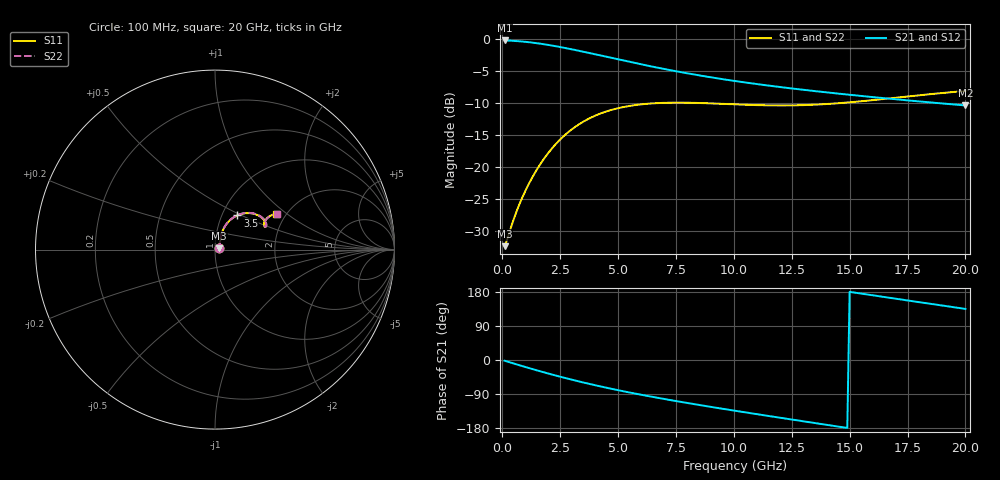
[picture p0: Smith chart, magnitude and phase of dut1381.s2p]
! Touchstone file exported from HFSS 2024.1.0
!  File:  C:/UserFiles/LocalFiles/RDL_TSV_Batchsim/temp_RDL_TSV_1381_1780401419.aedt
!  Generated:  08:10:53 PM Jun  2, 2026
!  Design:  RDL_TSV
!  Project:  temp_RDL_TSV_1381_1780401419
!  Setup:  Setup1
!  Solution:  Sweep
! Variables:
!  dtsv = 7.16um
!  hbump = 3um
!  htsv = 94.46um
!  ldown = 444.02um
!  lrdl = 423.06um
!  p = 40
!  p1 = 49.27um
!  rhole = 10um
!  subl = 3024.3um
!  t = 450um
!  tdown = 2.63um
!  trdl = 3.46um
!  viad = 10um
!  wdown = 18.64um
!  wrdl = 13.4um
!  xbump = 18um
# GHz S MA R 50.000000
! Terminal data exported
! Port[1] = TM1_1_T1
! Port[2] = TM1_4_T1
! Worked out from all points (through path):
!   200 points, 100 MHz to 20 GHz, reference 50 ohm
!   highest |S21| = -0.21 dB at 100 MHz (marker M1); lowest = -10.3 dB at 20 GHz (marker M2)
!   group delay of S21, straight-line fit = 29.5 ps
!   lowest |S11| = -32.3 dB at 100 MHz (marker M3), VSWR 1.05, Z = 52.4 + j0.666 ohm
!   |S11| at or under -10 dB: start of sweep to 6.59 GHz; 8.845 GHz to 14.51 GHz (5.668 GHz wide, 48.5 % of centre)
!   |S22| runs from -32.3 to -8.1 dB; largest |S21 - S12| = 1.2e-14
!   S11 on the Smith chart (normalised r, x): 100 MHz: 1.05, +0.01; 3.5 GHz: 1.18, +0.47; 20 GHz: 1.79, +0.83
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0.1  0.02428 15.2  0.9764 -1.9  0.9764 -1.9  0.02428 15.2
! Gamma 0 0 0 0
! Port Impedance 50 0 50 0
0.5  0.03968 48.8  0.9692 -9.4  0.9692 -9.4  0.03967 48.9
0.8  0.0547 58.9  0.9602 -15.0  0.9602 -15.0  0.05469 59.0
1.2  0.0776 65.5  0.9441 -22.2  0.9441 -22.2  0.07761 65.6
1.6  0.1032 67.8  0.9239 -29.2  0.9239 -29.2  0.1033 67.9
2  0.1305 67.5  0.9003 -36.0  0.9003 -36.0  0.1306 67.7
2.5  0.165 65.0  0.8677 -44.1  0.8677 -44.1  0.1652 65.2
3  0.1977 61.2  0.8331 -51.9  0.8331 -51.9  0.1982 61.4
3.5  0.2272 56.9  0.7976 -59.4  0.7976 -59.4  0.2278 57.1
4.2  0.2612 50.7  0.7485 -69.2  0.7485 -69.2  0.2621 50.9
5.1  0.292 43.4  0.6891 -80.9  0.6891 -80.9  0.2932 43.5
5.9  0.3085 37.8  0.6414 -90.6  0.6414 -90.6  0.3099 37.9
6.8  0.3176 32.7  0.594 -100.8  0.594 -100.8  0.3193 32.8
7.6  0.3197 29.2  0.5574 -109.4  0.5574 -109.4  0.3216 29.4
8.4  0.3181 26.7  0.5253 -117.6  0.5253 -117.6  0.3202 26.8
10.1  0.3097 24.3  0.4699 -134.4  0.4699 -134.4  0.312 24.4
11.7  0.304 25.1  0.4295 -149.6  0.4295 -149.6  0.3064 25.1
13.4  0.3076 27.6  0.395 -165.5  0.395 -165.5  0.3098 27.5
15  0.3215 30.0  0.368 179.8  0.368 179.8  0.3235 29.8
16.7  0.3446 31.3  0.3434 164.3  0.3434 164.3  0.3464 31.2
18.4  0.3709 31.2  0.3219 149.1  0.3219 149.1  0.3725 31.0
20  0.3942 29.9  0.3041 134.9  0.3041 134.9  0.3956 29.8
